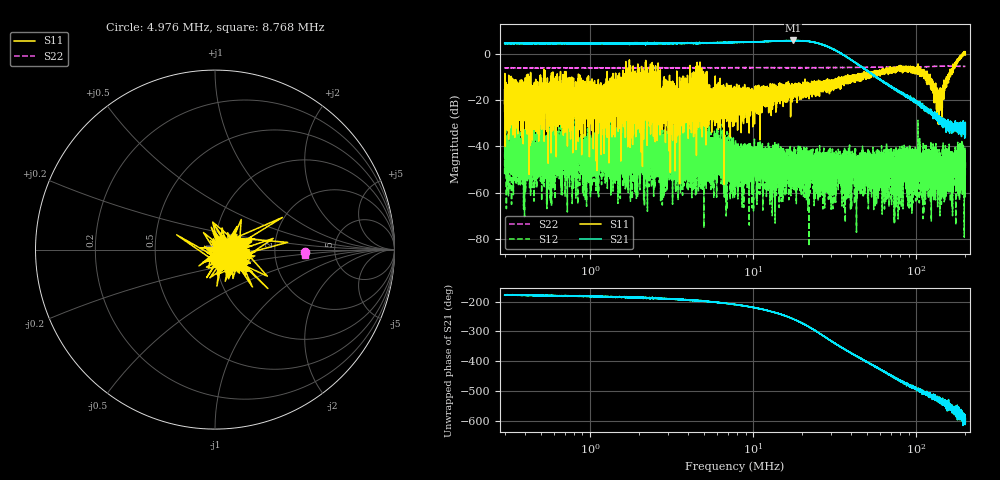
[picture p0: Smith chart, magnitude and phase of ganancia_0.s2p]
# Hz S DB R 50
! CMT, M5065, 19127446, 24.2.4/2
! Date: 11/1/2024 3:01:13 PM
! Data: Format (Calibration Info)
! Freq	S11:dB/Ang(F2)	S21:dB/Ang(F2)	S12:dB/Ang(F2)	S22:dB/Ang(F2)
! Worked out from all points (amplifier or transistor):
!   9000 points, 300 kHz to 200 MHz, reference 50 ohm
!   highest |S21| = 5.8 dB at 17.6 MHz (marker M1)
!   |S21| within 3 dB of that: start of sweep to 29.26 MHz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
!   unconditionally stable (mu >= 1): start of sweep to 192.8 MHz; 193.0107 MHz to 193.0799 MHz; 193.2847 MHz to 194.1944 MHz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
!   at 886.8 kHz: K = 22.24, MAG = 5.9 dB, |S12| = -40.4 dB
!   at 7.749 MHz: K = 36.57, MAG = 6.3 dB, |S12| = -44.9 dB
!   at 200 MHz: K = 286.71, MAG = -19.2 dB, |S12| = -46.7 dB
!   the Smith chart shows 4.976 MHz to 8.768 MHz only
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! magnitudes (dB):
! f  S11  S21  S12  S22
! 300 kHz  -24.9  4.6  -51.9  -6.0
! 310.1 kHz  -21.2  4.4  -48.4  -6.0
! 351.9 kHz  -15.0  4.5  -47.6  -6.0
! 394.8 kHz  -16.5  4.5  -35.3  -6.0
! 481.2 kHz  -29.5  4.5  -41.3  -6.1
! 532.1 kHz  -15.7  4.4  -41.0  -6.1
! 886.8 kHz  -11.6  4.4  -40.4  -6.1
! 1.704 MHz  -27.6  4.6  -46.3  -6.0
! 1.86 MHz  -23.6  4.5  -45.2  -6.0
! 2.135 MHz  -28.5  4.5  -63.0  -6.0
! 2.621 MHz  -25.8  4.5  -44.4  -6.0
! 3.735 MHz  -15.3  4.5  -31.4  -6.0
! 4.656 MHz  -19.1  4.6  -49.7  -6.0
! 7.749 MHz  -20.5  5.0  -44.9  -6.0
! 17.6 MHz  -16.0  5.8  -49.7  -6.0
! 22.91 MHz  -13.5  5.2  -53.5  -6.0
! 43.67 MHz  -10.5  -4.5  -59.1  -5.9
! 67.71 MHz  -6.8  -13.4  -45.3  -5.7
! 107.1 MHz  -7.6  -22.1  -49.0  -5.6
! 139.8 MHz  -21.7  -30.5  -50.9  -5.4
! 168.6 MHz  -5.9  -30.9  -52.5  -5.3
! 200 MHz  -0.5  -30.0  -46.7  -5.4
